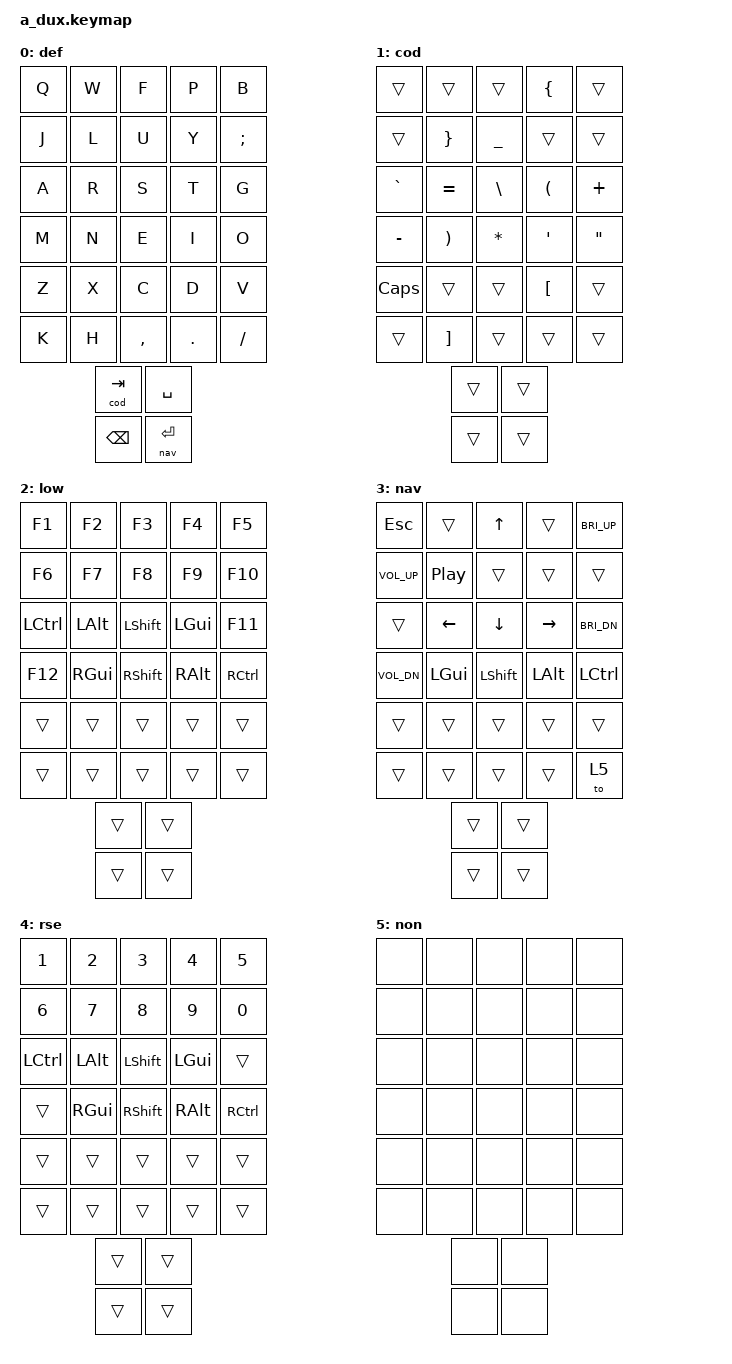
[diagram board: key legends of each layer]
/*
 * Copyright (c) 2021 The ZMK Contributors
 *
 * SPDX-License-Identifier: MIT
 */

#include <behaviors.dtsi>
#include <dt-bindings/zmk/keys.h>
#include <dt-bindings/zmk/bt.h>
#include <dt-bindings/zmk/outputs.h>

#define def 0
#define cod 1
#define low 2
#define nav 3
#define rse 4
#define non 5


#define cterm 50

// &kscan0 {
//     debounce-period = <32>;
// };

&lt {
    flavor = "balanced";
    tapping-term-ms = <105>;
};

/ {
        // behaviors {
        //     hm_l: left_hand_positional_hold_tap {
        //         compatible = "zmk,behavior-hold-tap";
        //         label = "LEFT_POSITIONAL_HOLD_TAP";
        //         #binding-cells = <2>;
        //         flavor = "balanced";
        //         tapping-term-ms = <105>;
        //         bindings = <&kp>, <&kp>;
        //         quick-tap-ms = <200>;
        //         hold-trigger-key-positions = <6 7 8 9 15 16 17 18 19 25 26 27 28 30 31 32 33>;
        //     };
        //     hm_r: right_hand_positional_hold_tap {
        //         compatible = "zmk,behavior-hold-tap";
        //         label = "RIGHT_POSITIONAL_HOLD_TAP";
        //         #binding-cells = <2>;
        //         flavor = "balanced";
        //         tapping-term-ms = <105>;
        //         bindings = <&kp>, <&kp>;
        //         quick-tap-ms = <200>;
        //         hold-trigger-key-positions = <0 1 2 3 10 11 12 13 14 21 22 23 24 30 31 32 33>;
        //     };
        // };

        combos {
            compatible = "zmk,combos";
            combo_reset {
                timeout-ms = <100>;
                key-positions = <10 11 12 13 16 17 18 19 20 21 22 23 26 27 28 29>;
                bindings = <&bt BT_CLR>;
            };
            combo_lcmd {
                timeout-ms = <cterm>;
                key-positions = <3 13>;
                bindings = <&kp LGUI>;
                layers = <0 1>;
            };
            combo_lalt {
                timeout-ms = <cterm>;
                key-positions = <1 11>;
                bindings = <&kp LALT>;
                layers = <0 1>;
            };
            combo_lsft {
                timeout-ms = <cterm>;
                key-positions = <2 12>;
                bindings = <&kp LSHFT>;
                layers = <0 1>;
            };
            combo_lctl {
                timeout-ms = <cterm>;
                key-positions = <0 10>;
                bindings = <&kp LCTRL>;
                layers = <0 1>;
            };
            combo_rcmd {
                timeout-ms = <cterm>;
                key-positions = <6 16>;
                bindings = <&kp RGUI>;
                layers = <0 1>;
            };
            combo_ralt {
                timeout-ms = <cterm>;
                key-positions = <8 18>;
                bindings = <&kp RALT>;
                layers = <0 1>;
            };
            combo_rsft {
                timeout-ms = <cterm>;
                key-positions = <7 17>;
                bindings = <&kp RSHFT>;
                layers = <0 1>;
            };
            combo_rctl {
                timeout-ms = <cterm>;
                key-positions = <9 19>;
                bindings = <&kp RCTRL>;
                layers = <0 1>;
            };
            combo_low {
                timeout-ms = <cterm>;
                key-positions = <30 31>;
                bindings = <&mo low>;
                layers = <0 1>;
            };
            combo_rse {
                timeout-ms = <cterm>;
                key-positions = <32 33>;
                bindings = <&mo rse>;
                layers = <0 1>;
            };
            exit_pause {
                timeout-ms = <200>;
                key-positions = <0 1 8 9>;
                bindings = <&to def>;
                layers = <5>;
            };
        };

	    keymap {
                compatible = "zmk,keymap";


                def {
//             ┌─────┐                                          ┌─────┐
//       ┌─────┤  F  ├─────┬─────┐                  ┌─────┬─────┤  U  ├─────┐
//       │  W  ├─────┤  P  │  B  │                  │  J  │  L  ├─────┤  Y  │
// ┌─────┼─────┤  S  ├─────┼─────┤                  ├─────┼─────┤  E  ├─────┼─────┐
// │  Q  │  R  ├─SFT─┤  T  │  G  │                  │  M  │  N  ├─SFT─┤  I  │  ;  │
// ├─────┼─ALT─┤  C  ├─GUI─┼─────┤                  ├─────┼─GUI─┤  ,  ├─ALT─┼─────┤
// │  A  │  X  ├─────┤  D  │  V  │                  │  K  │  H  ├─────┤  .  │  O  │
// ├─CTL─┼─────┘     └─────┴─────┘                  └─────┴─────┘     └─────┼─CTL─┤
// │  Z  │                 ┌─────┬─────┐      ┌─────┬─────┐                 │  /  │
// └─────┘                 │ TAB │ SPC │      │ DEL │ ENT │                 └─────┘
//                         └ cod ┴ low ┘      └─rse─┴ nav ┘

                        bindings = <
    &kp Q       &kp W       &kp F       &kp P       &kp B
        &kp J        &kp L       &kp U       &kp Y       &kp SEMI

    &kp A     &kp R      &kp S     &kp T     &kp G
        &kp M     &kp N      &kp E     &kp I      &kp O

    &kp Z      &kp X       &kp C       &kp D       &kp V
        &kp K       &kp H       &kp COMMA       &kp DOT       &kp SLASH

    &lt cod TAB       &kp SPACE
        &kp BSPC      &lt nav ENTER
                        >;
                };


                cod {
//             ┌─────┐                                          ┌─────┐
//       ┌─────┤     ├─────┬─────┐                  ┌─────┬─────┤  _  ├─────┐
//       │     ├─────┤  {  │     │                  │     │  }  ├─────┤     │
// ┌─────┼─────┤  \  ├─────┼─────┤                  ├─────┼─────┤  *  ├─────┼─────┐
// │     │  =  ├─────┤  (  │  +  │                  │  -  │  )  ├─────┤  '  │     │
// ├─────┼─────┤     ├─────┼─────┤                  ├─────┼─────┤     ├─────┼─────┤
// │  `  │     ├─────┤  [  │     │                  │     │  ]  ├─────┤     │  "  │
// ├─────┼─────┘     └─────┴─────┘                  └─────┴─────┘     └─────┼─────┤
// │ CAPS│                 ┌─────┬─────┐      ┌─────┬─────┐                 │     │
// └─────┘                 │     │     │      │     │     │                 └─────┘
//                         └─────┴─────┘      └─────┴─────┘

                        bindings = <
    &trans     &trans       &trans      &kp LBRC      &trans
        &trans      &kp RBRC      &kp UNDERSCORE      &trans      &trans

    &kp GRAVE     &kp EQUAL      &kp BSLH     &kp LPAR     &kp PLUS
        &kp MINUS     &kp RPAR      &kp STAR     &kp APOS       &kp DQT

    &kp CAPS       &trans      &trans      &kp LBKT       &trans
        &trans       &kp RBKT       &trans       &trans       &trans

    &trans      &trans
        &trans      &trans
                        >;
                };


                low {
//             ┌─────┐                                          ┌─────┐
//       ┌─────┤  F3 ├─────┬─────┐                  ┌─────┬─────┤  F8 ├─────┐
//       │  F2 ├─────┤ F4  │ F5  │                  │ F6  │ F7  ├─────┤ F9  │
// ┌─────┼─────┤ SFT ├─────┼─────┤                  ├─────┼─────┤ SFT ├─────┼─────┐
// │  F1 │ ALT ├─────┤ GUI │ F11 │                  │ F12 │ GUI ├─────┤ ALT │ F10 │
// ├─────┼─────┤     ├─────┼─────┤                  ├─────┼─────┤     ├─────┼─────┤
// │ CTL │     ├─────┤     │     │                    │     │     ├─────┤     │ CTL │
// ├─────┼─────┘     └─────┴─────┘                  └─────┴─────┘     └─────┼─────┤
// │     │                 ┌─────┬─────┐      ┌─────┬─────┐                 │     │
// └─────┘                 │     │     │      │     │     │                 └─────┘
//                         └─────┴─────┘      └─────┴─────┘

                        bindings = <
    &kp F1     &kp F2      &kp F3      &kp F4       &kp F5
        &kp F6       &kp F7      &kp F8      &kp F9       &kp F10

    &kp LCTRL      &kp LALT     &kp LSHIFT      &kp LGUI       &kp F11
        &kp F12     &kp RGUI        &kp RSHFT        &kp RALT        &kp RCTRL

    &trans      &trans      &trans      &trans       &trans
        &trans     &trans       &trans      &trans      &trans

    &trans     &trans
        &trans      &trans
                        >;
                };


                nav {
//              ┌─────┐                                           ┌─────┐
//       ┌─────┤  ↑  ├─────┬─────┐                ┌─────┬─────┤     ├─────┐
//       │     ├─────┤     │ BRIU│                 │ VOLU│ PLAY├─────┤      │
// ┌─────┼─────┤  ↓  ├─────┼─────┤              ├─────┼─────┤ SFT ├─────┼─────┐
// │ ESC │  ←  ├─────┤  →  │ BRID│               │ VOLD│ GUI ├─────┤ ALT │       │
// ├─────┼─────┤     ├─────┼─────┤             ├─────┼────┤     ├─────┼────  ┤
// │      │     ├─────┤     │     │             │     │     ├─────┤     │ CTL │
// ├─────┼─────┘    └─────┴─────┘           └─────┴─────┘     └─────┼─────┤
// │     │                 ┌─────┬─────┐      ┌─────┬─────┐           │ HOL │
// └─────┘                 │     │     │      │     │     │            └─────┘
//                         └─────┴─────┘      └─────┴─────┘

                        bindings = <
    &kp ESC       &trans      &kp UP      &trans       &kp C_BRI_UP
        &kp C_VOL_UP        &kp C_PLAY_PAUSE     &trans      &trans      &trans

    &trans    &kp LEFT       &kp DOWN     &kp RIGHT     &kp C_BRI_DN
        &kp C_VOL_DN     &kp LGUI      &kp LSHFT      &kp LALT     &kp LCTRL

    &trans      &trans     &trans     &trans       &trans
        &trans       &trans       &trans        &trans       &to 5

    &trans      &trans
        &trans      &trans
                        >;
                };


                rse {
//             ┌─────┐                                          ┌─────┐
//       ┌─────┤  3  ├─────┬─────┐                  ┌─────┬─────┤  8  ├─────┐
//       │  2  ├─────┤  4  │  5  │                  │  6  │  7  ├─────┤  9  │
// ┌─────┼─────┤ SFT ├─────┼─────┤                  ├─────┼─────┤ SFT ├─────┼─────┐
// │  1  │ ALT ├─────┤ GUI │     │                  │     │ GUI ├─────┤ ALT │  0  │
// ├─────┼─────┤     ├─────┼─────┤                  ├─────┼─────┤     ├─────┼─────┤
// │ CTL │     ├─────┤     │     │                  │     │     ├─────┤     │ CTL │
// ├─────┼─────┘     └─────┴─────┘                  └─────┴─────┘     └─────┼─────┤
// │     │                 ┌─────┬─────┐      ┌─────┬─────┐                 │     │
// └─────┘                 │     │     │      │     │     │                 └─────┘
//                         └─────┴─────┘      └─────┴─────┘

                        bindings = <
    &kp N1        &kp N2      &kp N3      &kp N4       &kp N5
        &kp N6       &kp N7      &kp N8      &kp N9       &kp N0

    &kp LCTRL        &kp LALT      &kp LSHFT      &kp LGUI       &trans
        &trans      &kp RGUI       &kp RSHFT        &kp RALT        &kp RCTRL

    &trans        &trans      &trans      &trans       &trans
        &trans       &trans      &trans      &trans       &trans

    &trans      &trans
        &trans      &trans
                        >;
                };


        non {
//             ┌─────┐                                          ┌─────┐
//       ┌─────┤     ├─────┬─────┐                  ┌─────┬─────┤     ├─────┐
//       │     ├─────┤     │     │                  │     │     ├─────┤     │
// ┌─────┼─────┤     ├─────┼─────┤                  ├─────┼─────┤     ├─────┼─────┐
// │     │     ├─────┤     │     │                  │     │     ├─────┤     │     │
// ├─────┼─────┤     ├─────┼─────┤                  ├─────┼─────┤     ├─────┼─────┤
// │     │     ├─────┤     │     │                  │     │     ├─────┤     │     │
// ├─────┼─────┘     └─────┴─────┘                  └─────┴─────┘     └─────┼─────┤
// │     │                 ┌─────┬─────┐      ┌─────┬─────┐                 │     │
// └─────┘                 │     │     │      │     │     │                 └─────┘
//                         └─────┴─────┘      └─────┴─────┘

                        bindings = <
    &none    &none      &none      &none       &none
        &none       &none      &none      &none       &none

    &none        &none      &none      &none       &none
        &none      &none       &none        &none        &none

    &none        &none      &none      &none       &none
        &none       &none      &none      &none       &none

    &none      &none
        &none      &none
                        >;
                };


	    };
};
